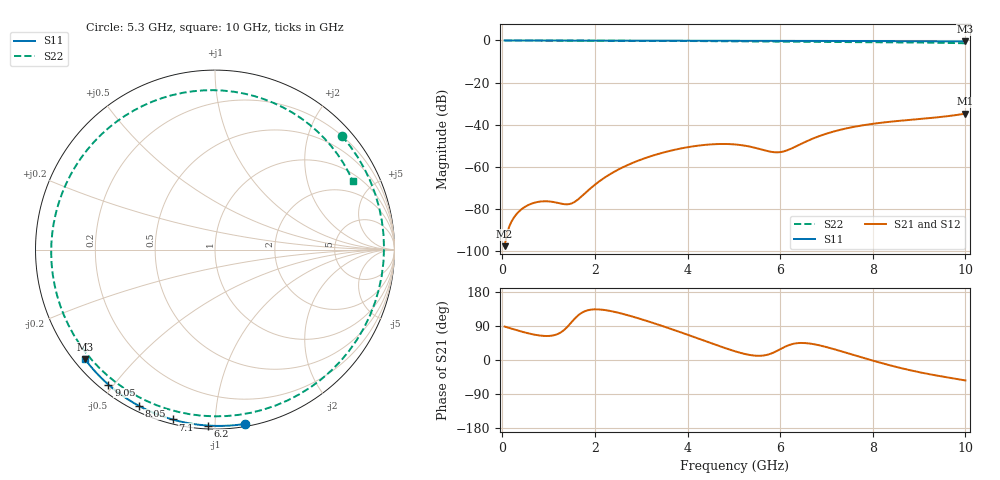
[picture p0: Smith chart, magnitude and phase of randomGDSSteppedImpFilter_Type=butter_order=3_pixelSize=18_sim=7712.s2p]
! freq	dB(S11)	phase(S11)	dB(S12)	phase(S12)
!  dB(S21)	phase(S21)	dB(S22)	phase(S22)
!S-par simulation data
#  GHz  S  DB  R 50
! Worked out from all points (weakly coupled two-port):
!   200 points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, 50 MHz to 10 GHz, reference 50 ohm
!   highest |S21| = -34.81 dB at 10 GHz (marker M1); lowest = -97.8 dB at 50 MHz (marker M2)
!   lowest |S11| = -0.5 dB at 10 GHz (marker M3), VSWR 36.74, Z = 1.54 - j18.2 ohm
!   |S11| at or under -10 dB: nowhere
!   |S22| runs from -1.3 to 0.0 dB; largest |S21 - S12| = 0
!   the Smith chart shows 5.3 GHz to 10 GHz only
!   S11 on the Smith chart (normalised r, x): 5.3 GHz: 0.02, -1.19; 6.2 GHz: 0.02, -0.96; 7.1 GHz: 0.02, -0.78; 8.05 GHz: 0.02, -0.62; 9.05 GHz: 0.03, -0.48; 10 GHz: 0.03, -0.36
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0.05  -0.00 -0.8  -97.80 88.2  -97.80 88.2  -0.00 -3.0
0.45  -0.01 -7.3  -79.68 73.8  -79.68 73.8  -0.03 -26.7
0.95  -0.02 -15.3  -76.46 63.3  -76.46 63.3  -0.07 -55.6
1.45  -0.03 -23.2  -77.78 93.5  -77.78 93.5  -0.10 -83.3
1.75  -0.04 -27.9  -73.37 126.8  -73.37 126.8  -0.12 -99.4
2.65  -0.05 -41.8  -59.80 120.2  -59.80 120.2  -0.17 -146.0
3.4  -0.07 -53.1  -53.75 92.0  -53.75 92.0  -0.22 174.5
3.9  -0.08 -60.5  -51.16 71.1  -51.16 71.1  -0.26 145.7
4.4  -0.10 -67.6  -49.59 49.3  -49.59 49.3  -0.32 113.3
4.75  -0.11 -72.6  -49.21 34.1  -49.21 34.1  -0.37 87.7
5.05  -0.12 -76.8  -49.49 22.1  -49.49 22.1  -0.41 63.5
5.3  -0.13 -80.2  -50.27 14.3  -50.27 14.3  -0.45 41.8
5.75  -0.14 -86.3  -52.69 14.7  -52.69 14.7  -0.52 0.4
6.2  -0.17 -92.3  -51.80 39.7  -51.80 39.7  -0.58 -41.7
6.7  -0.19 -98.9  -46.71 42.3  -46.71 42.3  -0.63 -86.0
7.1  -0.21 -104.0  -43.64 30.8  -43.64 30.8  -0.68 -118.7
7.6  -0.25 -110.3  -41.05 12.8  -41.05 12.8  -0.75 -156.6
8.05  -0.28 -116.0  -39.48 -3.3  -39.48 -3.3  -0.81 170.8
8.35  -0.31 -119.7  -38.70 -13.4  -38.70 -13.4  -0.87 149.2
9.05  -0.37 -128.3  -37.27 -33.3  -37.27 -33.3  -1.00 98.1
9.5  -0.42 -133.8  -36.29 -43.6  -36.29 -43.6  -1.13 64.3
10  -0.47 -139.9  -34.81 -54.0  -34.81 -54.0  -1.34 26.3
